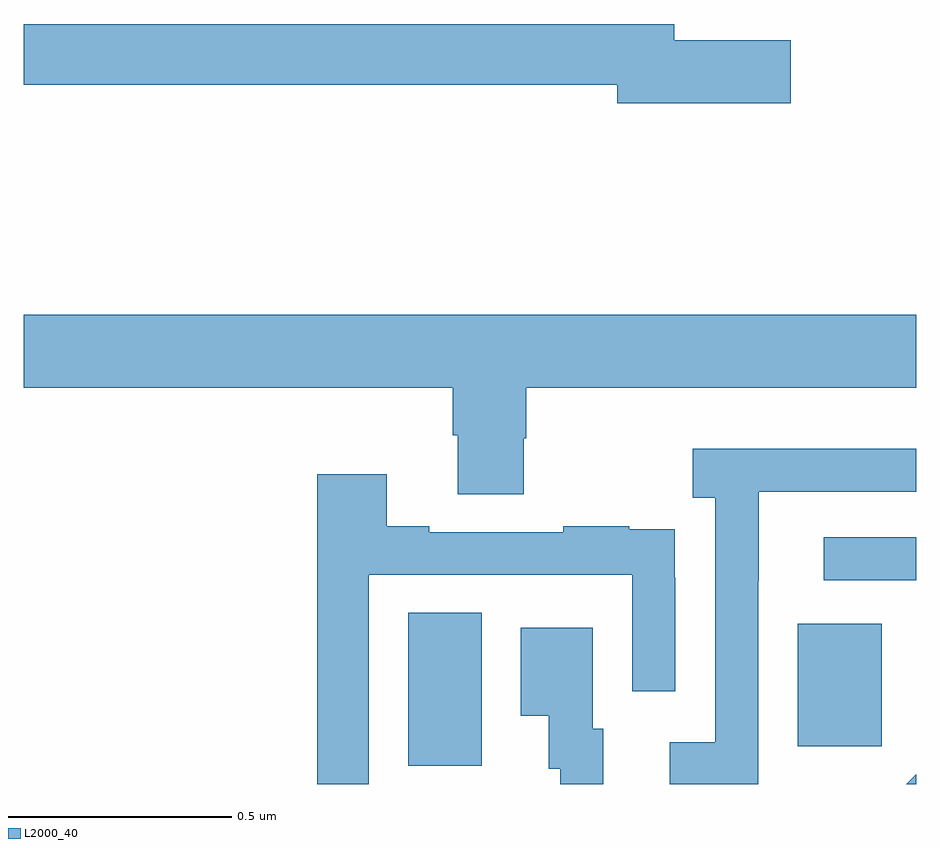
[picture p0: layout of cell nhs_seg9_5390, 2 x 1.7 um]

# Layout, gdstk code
import gdstk
lib = gdstk.Library(unit=1e-6, precision=1e-09)
def R(c, l, rs):  # rectangles x0, y0, x1, y1
    for r in rs: c.add(gdstk.rectangle(r[:2], r[2:], *l))
def P(c, l, *ps):  # polygons
    for p in ps: c.add(gdstk.Polygon(p, *l))
L2000_40 = (2000, 40)

nhs_seg9_5390 = lib.new_cell('nhs_seg9_5390')
R(nhs_seg9_5390, L2000_40, [(178.862,1227.541,179.026,1227.884), (179.735,1227.585,179.923,1227.859), (179.793,1227.957,180,1228.053)])
P(nhs_seg9_5390, L2000_40, [(179.719,1229.168),(179.458,1229.168),(179.458,1229.204),(178,1229.204),(178,1229.068),(179.33,1229.068),(179.33,1229.026),(179.719,1229.026)],
  [(179.121,1228.275),(179.126,1228.275),(179.126,1228.388),(180,1228.388),(180,1228.552),(178,1228.552),(178,1228.388),(178.961,1228.388),(178.961,1228.282),(178.973,1228.282),(178.973,1228.15),(179.121,1228.15)],
  [(179.646,1227.955),(179.647,1227.955),(179.647,1228.155),(180,1228.155),(180,1228.252),(179.499,1228.252),(179.499,1228.142),(179.55,1228.142),(179.55,1227.594),(179.448,1227.594),(179.448,1227.5),(179.646,1227.5)],
  [(178.773,1227.969),(179.364,1227.969),(179.364,1227.708),(179.46,1227.708),(179.46,1227.962),(179.459,1227.962),(179.459,1228.071),(179.357,1228.071),(179.357,1228.078),(179.209,1228.078),(179.209,1228.065),(178.909,1228.065),(178.909,1228.078),(178.813,1228.078),(178.813,1228.195),(178.657,1228.195),(178.657,1227.5),(178.773,1227.5)],
  [(179.299,1227.624),(179.275,1227.624),(179.275,1227.85),(179.114,1227.85),(179.114,1227.653),(179.177,1227.653),(179.177,1227.534),(179.202,1227.534),(179.202,1227.5),(179.299,1227.5)],
  [(180,1227.522),(179.978,1227.5),(180,1227.5)])

lib.write_gds('nhs_seg9_5390.gds')
